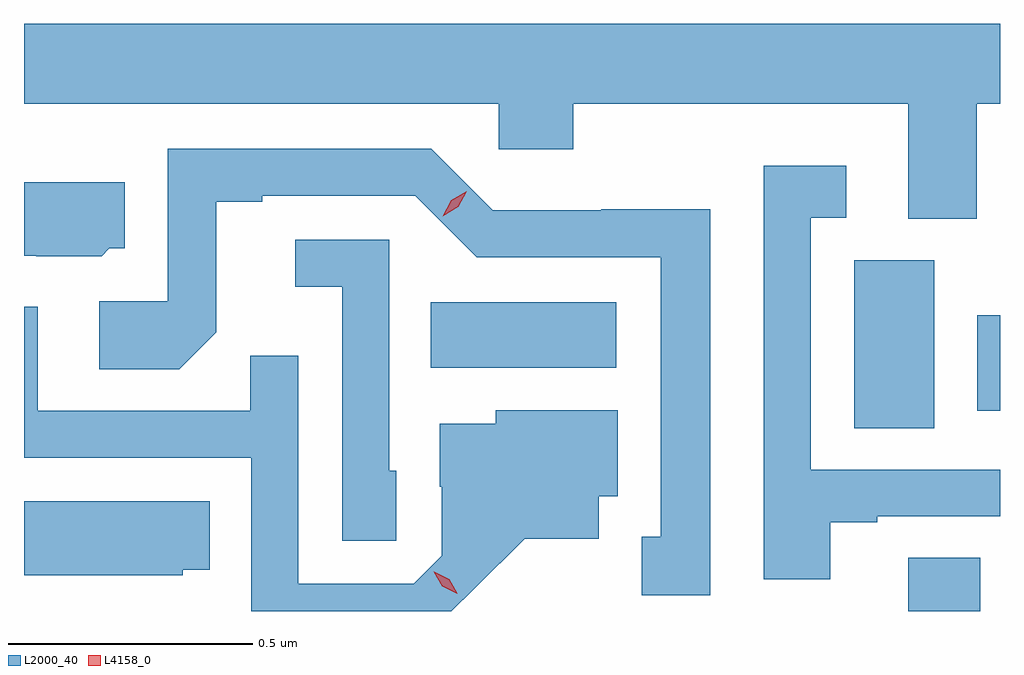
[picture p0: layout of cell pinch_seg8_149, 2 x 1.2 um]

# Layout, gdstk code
import gdstk
lib = gdstk.Library(unit=1e-6, precision=1e-09)
def R(c, l, rs):  # rectangles x0, y0, x1, y1
    for r in rs: c.add(gdstk.rectangle(r[:2], r[2:], *l))
def P(c, l, *ps):  # polygons
    for p in ps: c.add(gdstk.Polygon(p, *l))
L2000_40 = (2000, 40)
L4158_0 = (4158, 0)

pinch_seg8_149 = lib.new_cell('pinch_seg8_149')
R(pinch_seg8_149, L2000_40, [(707.555,1148.761,707.703,1148.87), (707.444,1149.136,707.608,1149.48), (707.696,1149.171,707.743,1149.367), (706.576,1149.26,706.957,1149.394)])
P(pinch_seg8_149, L2000_40, [(705.743,1149.8),(706.716,1149.8),(706.716,1149.707),(706.868,1149.707),(706.868,1149.8),(707.555,1149.8),(707.555,1149.565),(707.695,1149.565),(707.695,1149.8),(707.743,1149.8),(707.743,1149.964),(705.743,1149.964)],
  [(707.149,1149.584),(706.926,1149.584),(706.926,1149.582),(706.704,1149.582),(706.578,1149.708),(706.038,1149.708),(706.038,1149.396),(705.897,1149.396),(705.897,1149.256),(706.061,1149.256),(706.137,1149.332),(706.137,1149.6),(706.231,1149.6),(706.231,1149.612),(706.545,1149.612),(706.671,1149.486),(707.048,1149.486),(707.048,1148.913),(707.009,1148.913),(707.009,1148.793),(707.149,1148.793)],
  [(707.395,1148.943),(707.491,1148.943),(707.491,1148.955),(707.743,1148.955),(707.743,1149.051),(707.355,1149.051),(707.355,1149.567),(707.428,1149.567),(707.428,1149.673),(707.259,1149.673),(707.259,1148.826),(707.395,1148.826)],
  [(705.918,1149.504),(705.949,1149.504),(705.949,1149.64),(705.743,1149.64),(705.743,1149.489),(705.768,1149.489),(705.768,1149.488),(705.902,1149.488)],
  [(706.506,1149.048),(706.491,1149.048),(706.491,1149.522),(706.299,1149.522),(706.299,1149.425),(706.395,1149.425),(706.395,1148.905),(706.506,1148.905)],
  [(706.666,1148.807),(706.769,1148.909),(706.921,1148.909),(706.921,1148.996),(706.96,1148.996),(706.96,1149.172),(706.71,1149.172),(706.71,1149.145),(706.595,1149.145),(706.595,1149.016),(706.599,1149.016),(706.599,1148.874),(706.542,1148.817),(706.305,1148.817),(706.305,1149.284),(706.207,1149.284),(706.207,1149.171),(705.771,1149.171),(705.771,1149.385),(705.743,1149.385),(705.743,1149.075),(706.209,1149.075),(706.209,1148.761),(706.619,1148.761)],
  [(706.068,1148.846),(706.124,1148.846),(706.124,1148.986),(705.743,1148.986),(705.743,1148.834),(706.068,1148.834)])
P(pinch_seg8_149, L4158_0, [(706.601,1149.57),(706.601,1149.57),(706.618,1149.603),(706.65,1149.621),(706.65,1149.621),(706.65,1149.621),(706.633,1149.589),(706.601,1149.57)],
  [(706.631,1148.796),(706.6,1148.812),(706.583,1148.842),(706.583,1148.842),(706.584,1148.842),(706.614,1148.826),(706.631,1148.797),(706.631,1148.796)])

lib.write_gds('pinch_seg8_149.gds')
